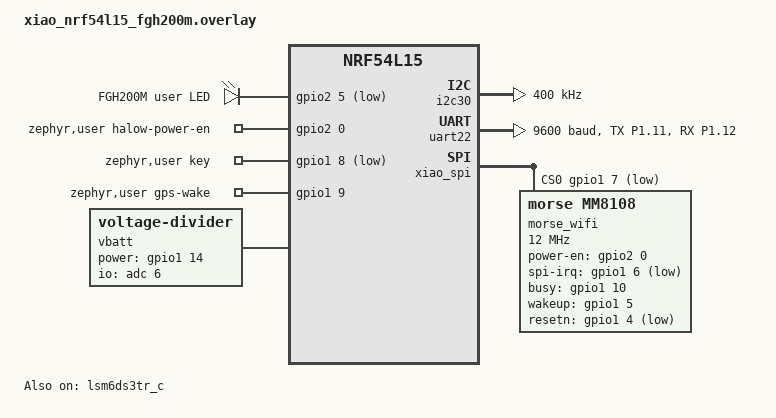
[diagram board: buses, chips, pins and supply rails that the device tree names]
#include <zephyr/dt-bindings/i2c/i2c.h>

/*
 * FGH200M / MM8108 carrier wiring from the 2026-09-10 pin schematic:
 *   IMU_INT1       -> P0.02
 *   IMU_SDA/SCL    -> P0.04/P0.03 (TWIM30)
 *   LED / KEY      -> P2.05/P1.08 (both active-low)
 *   VBAT / enable  -> P1.13 (AIN6)/P1.14
 *   GPS wake/RX/TX -> P1.09/P1.11/P1.12
 *   HaLow power    -> P2.00
 *   CS/SCK/MISO/MOSI -> P1.07/P2.01/P2.04/P2.02
 *   IRQ/BUSY/WAKE/RESETn -> P1.06/P1.10/P1.05/P1.04
 */

/ {
	leds {
		compatible = "gpio-leds";

		fgh200m_led: fgh200m_led {
			gpios = <&gpio2 5 GPIO_ACTIVE_LOW>;
			label = "FGH200M user LED";
		};
	};

	aliases {
		led0 = &fgh200m_led;
		imu0 = &lsm6ds3tr_c;
		gps0 = &uart22;
		vbatt = &vbatt;
	};

	zephyr,user {
		halow-power-en-gpios = <&gpio2 0 GPIO_ACTIVE_HIGH>;
		key-gpios = <&gpio1 8 (GPIO_PULL_UP | GPIO_ACTIVE_LOW)>;
		gps-wake-gpios = <&gpio1 9 GPIO_ACTIVE_HIGH>;
	};

	vbatt: vbatt {
		compatible = "voltage-divider";
		io-channels = <&adc 6>;
		output-ohms = <100000>;
		full-ohms = <200000>;
		power-gpios = <&gpio1 14 GPIO_ACTIVE_HIGH>;
	};
};

/* The stock XIAO LED occupies the HaLow power-enable pin. */
&led0 {
	status = "disabled";
};

/* P1.08 is the key, so the default UART20 RX pin cannot be used. */
&uart20 {
	status = "disabled";
};

&usr_btn {
	gpios = <&gpio1 8 (GPIO_PULL_UP | GPIO_ACTIVE_LOW)>;
	label = "KEY";
};

&i2c30_default {
	group1 {
		psels = <NRF_PSEL(TWIM_SDA, 0, 4)>,
			<NRF_PSEL(TWIM_SCL, 0, 3)>;
		bias-pull-up;
	};
};

&i2c30 {
	status = "okay";
	clock-frequency = <I2C_BITRATE_FAST>;
};

&lsm6ds3tr_c {
	status = "okay";
	irq-gpios = <&gpio0 2 GPIO_ACTIVE_HIGH>;
	zephyr,deferred-init;
};

&pinctrl {
	fgh200m_gps_default: fgh200m_gps_default {
		group1 {
			/* Module RXD is driven by the MCU TX pin. */
			psels = <NRF_PSEL(UART_TX, 1, 11)>;
		};

		group2 {
			/* Module TXD drives the MCU RX pin. */
			psels = <NRF_PSEL(UART_RX, 1, 12)>;
			bias-pull-up;
		};
	};

	fgh200m_gps_sleep: fgh200m_gps_sleep {
		group1 {
			psels = <NRF_PSEL(UART_TX, 1, 11)>,
				<NRF_PSEL(UART_RX, 1, 12)>;
			low-power-enable;
		};
	};
};

/* UART22 and I2C22 are alternate modes of the same serial peripheral. */
/delete-node/ &i2c22;

&uart22 {
	status = "okay";
	current-speed = <9600>;
	pinctrl-0 = <&fgh200m_gps_default>;
	pinctrl-1 = <&fgh200m_gps_sleep>;
	pinctrl-names = "default", "sleep";
};

&rfsw_ctl {
	status = "disabled";
};

&rfsw_pwr {
	status = "disabled";
};

&xiao_spi {
	status = "okay";
	cs-gpios = <&gpio1 7 GPIO_ACTIVE_LOW>;

	morse_wifi: morse@0 {
		status = "okay";
		compatible = "morse,mm8108";
		spi-max-frequency = <12000000>;
		reg = <0>;

		power-en-gpios = <&gpio2 0 GPIO_ACTIVE_HIGH>;
		spi-irq-gpios = <&gpio1 6 GPIO_ACTIVE_LOW>;
		busy-gpios = <&gpio1 10 (GPIO_ACTIVE_HIGH | GPIO_PULL_DOWN)>;
		wakeup-gpios = <&gpio1 5 GPIO_ACTIVE_HIGH>;
		resetn-gpios = <&gpio1 4 GPIO_ACTIVE_LOW>;
	};
};
